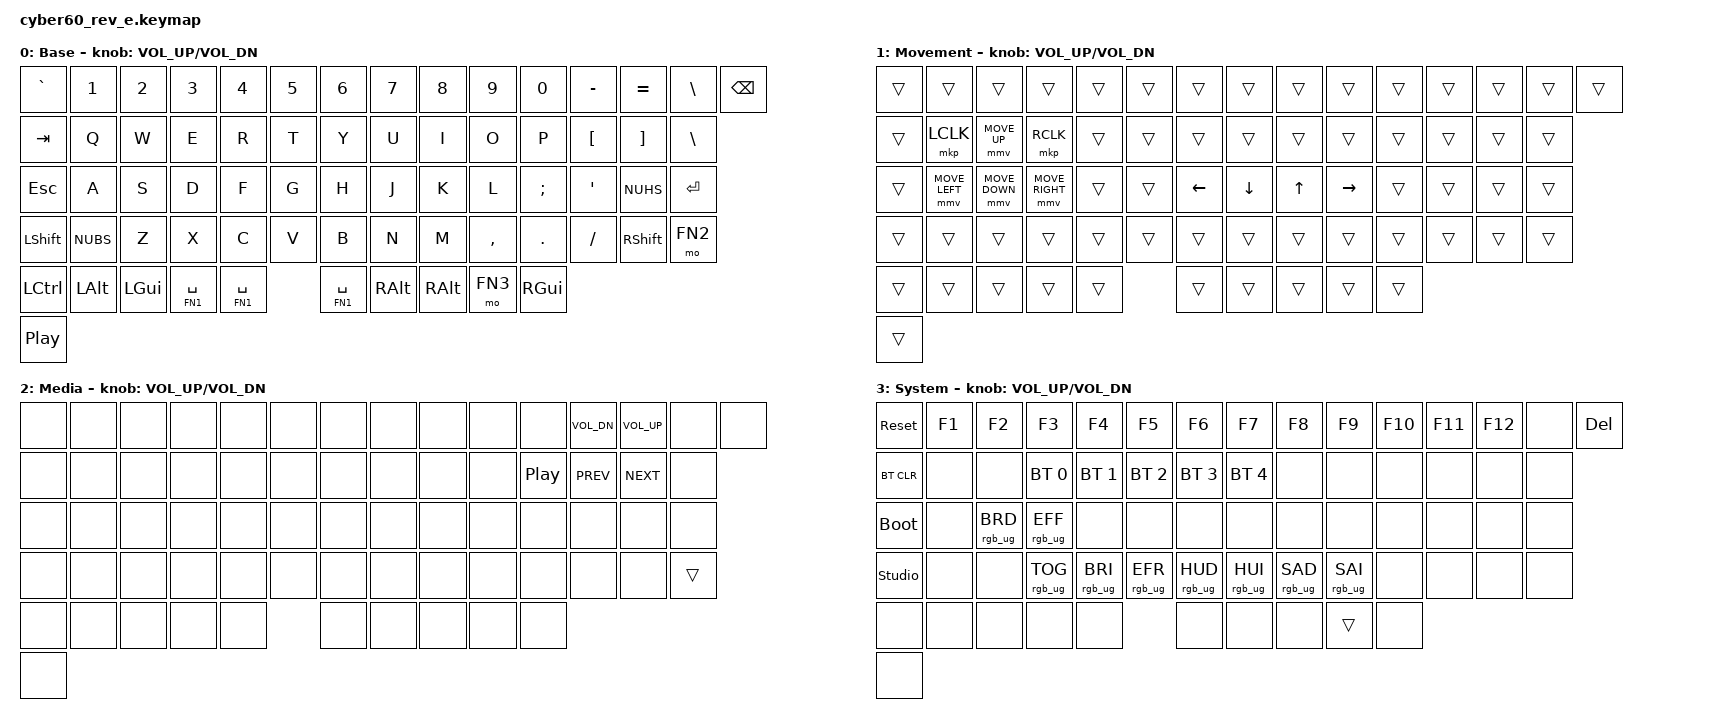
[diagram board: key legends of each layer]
#include <behaviors.dtsi>
#include <dt-bindings/zmk/bt.h>
#include <dt-bindings/zmk/keys.h>
#define ZMK_POINTING_DEFAULT_MOVE_VAL 3000 /* default: 600 (max cursor speed) */
#include <dt-bindings/zmk/pointing.h>
#include <dt-bindings/zmk/rgb.h>

#define FN1 1
#define FN2 2
#define FN3 3

&mmv {
    time-to-max-speed-ms = <500>; /* default: 300 */
    acceleration-exponent = <1>; /* default: 1 (0=uniform speed, 1=uniform acceleration, 2=linear acceleration) */
};

/ {
    keymap {
        compatible = "zmk,keymap";
        default_layer {
            // Base layer
            // ------------------------------------------------------------------------------------------
            // |  `  |  1  |  2  |  3  |  4  |  5  |  6  |  7  |  8  |  9  |  0  |  -  |  =  | "\" |BKSP|
            // |  TAB |  Q  |  W  |  E  |  R  |  T  |  Y  |  U  |  I  |  O  |  P  |  [  |  ]  |   "\"   |
            // |  ESC  |  A  |  S  |  D  |  F  |  G  |  H  |  J  |  K  |  L  |  ;  |  '  |NUHS| ENTER   |
            // | SHIFT |NUBS| Z |  X  |  C  |  V  |  B  |  N  |  M  |  ,  |  .  |  /  |    Shift   | FN2|
            // |  LCTL  |  LALT  |  LGUI  |LT1 SPC |LT1 SPC|  LT1 SPC   |  RALT | RALT  |   FN3   | RGUI |
            // | Rotary | (<-- Rotary switch) -----------------------------------------------------------
            display-name = "Base";
            bindings = <
            &kp GRAVE	&kp N1		&kp N2		&kp N3		&kp N4		&kp N5    &kp N6   &kp N7    &kp N8     &kp N9		&kp N0  	&kp MINUS	&kp EQUAL	&kp BSLH  &kp BSPC
            &kp TAB     &kp Q		&kp W		&kp E		&kp R		&kp T     &kp Y    &kp U     &kp I      &kp O		&kp P   	&kp LBKT	&kp RBKT	&kp BSLH
            &kp ESC		&kp A		&kp S		&kp D		&kp F		&kp G     &kp H    &kp J     &kp K      &kp L		&kp SEMI	&kp SQT		&kp NUHS	&kp RET
            &kp LSHFT	&kp NUBS	&kp Z		&kp X		&kp C		&kp V     &kp B    &kp N     &kp M  	&kp COMMA   &kp DOT   	&kp FSLH	&kp RSHFT   &mo FN2
            &kp LCTRL	&kp LALT	&kp LGUI	&lt FN1 SPACE	&lt FN1 SPACE	&lt FN1 SPACE  &kp RALT  &kp RALT  &mo FN3  &kp RGUI
            &kp C_PP
            >;

            sensor-bindings = <&inc_dec_kp C_VOL_UP C_VOL_DN>;
        };

        fn_layer_0 {
            display-name = "Movement";
            // Movement layer
            // ------------------------------------------------------------------------------------------
            // |TRNS|TRNS|TRNS|TRNS|TRNS|TRNS|TRNS|TRNS|TRNS|TRNS|TRNS|TRNS|TRNS|TRNS|TRNS|
            // |TRNS |LCLK | UP  |RCLK |TRNS|TRNS|TRNS|TRNS|TRNS|TRNS|TRNS|TRNS|TRNS| TRNS  |
            // | TRNS  | LEFT|DOWN |RIGHT|TRNS|TRNS| ←  | ↓  | ↑  |  → |TRNS|TRNS|TRNS| TRNS  |
            // | TRNS |TRNS|TRNS|TRNS|TRNS|TRNS|TRNS|TRNS|TRNS|TRNS|TRNS|TRNS|  TRNS    |TRNS|
            // | TRNS  | TRNS  | TRNS  |  TRNS  | TRNS |   TRNS    | TRNS | TRNS | TRNS | TRNS |
            // | Rotary | (<-- Rotary switch) -----------------------------------------------------------

            bindings = <
            &trans	&trans		&trans			&trans			&trans	&trans	&trans	&trans		&trans		&trans		&trans	&trans	&trans	&trans	&trans
            &trans	&mkp LCLK	&mmv MOVE_UP	&mkp RCLK		&trans	&trans	&trans	&trans		&trans		&trans		&trans	&trans	&trans	&trans
            &trans	&mmv MOVE_LEFT	&mmv MOVE_DOWN	&mmv MOVE_RIGHT	&trans	&trans	&kp LEFT &kp DOWN	&kp UP		&kp RIGHT	&trans	&trans	&trans	&trans
            &trans	&trans		&trans			&trans			&trans	&trans	&trans	&trans		&trans		&trans		&trans	&trans	&trans	&trans
            &trans	&trans		&trans			&trans			&trans	&trans	&trans	&trans		&trans		&trans
            &trans
            >;

            sensor-bindings = <&inc_dec_kp C_VOL_UP C_VOL_DN>;
        };

        fn_layer_1 {
            display-name = "Media";
            // Media layer
            // ------------------------------------------------------------------------------------------
            // |NONE|NONE|NONE|NONE|NONE|NONE|NONE|NONE|NONE|NONE|NONE|VOLD|VOLU|NONE|NONE|
            // |NONE |NONE|NONE|NONE|NONE|NONE|NONE|NONE|NONE|NONE| PP |PREV|NEXT| NONE  |
            // | NONE  |NONE|NONE|NONE|NONE|NONE|NONE|NONE|NONE|NONE|NONE|NONE|NONE| NONE  |
            // | NONE |NONE|NONE|NONE|NONE|NONE|NONE|NONE|NONE|NONE|NONE|NONE|  NONE    |TRNS|
            // | NONE  | NONE  | NONE  |  NONE  | NONE |   NONE    | NONE | NONE | NONE | NONE |
            // | Rotary | (<-- Rotary switch) -----------------------------------------------------------

            bindings = <
            &none	&none	&none	&none	&none	&none	&none	&none	&none	&none	&none	&kp C_VOL_DN	&kp C_VOL_UP	&none	&none
            &none	&none	&none	&none	&none	&none	&none	&none	&none	&none	&kp C_PP	&kp C_PREV	&kp C_NEXT	&none
            &none	&none	&none	&none	&none	&none	&none	&none	&none	&none	&none	&none	&none	&none
            &none	&none	&none	&none	&none	&none	&none	&none	&none	&none	&none	&none	&none	&trans
            &none	&none	&none	&none	&none	&none	&none	&none	&none	&none
            &none
            >;

            sensor-bindings = <&inc_dec_kp C_VOL_UP C_VOL_DN>;
        };

        fn_layer_2 {
            display-name = "System";
            // System/BT/RGB layer
            // ------------------------------------------------------------------------------------------
            // |RESET| F1 | F2 | F3 | F4 | F5 | F6 | F7 | F8 | F9 | F10| F11| F12|NONE| DEL|
            // |BT_CLR|NONE|NONE| BT0| BT1| BT2| BT3| BT4|NONE|NONE|NONE|NONE|NONE| NONE  |
            // | BOOTL |NONE|RGBD|RGBE|NONE|NONE|NONE|NONE|NONE|NONE|NONE|NONE|NONE| NONE  |
            // |S_UNLK|NONE|NONE|RGBT|RGBB|RGBE|RGBH|RGBH|RGBS|RGBS|NONE|NONE|  NONE    |NONE|
            // | NONE  | NONE  | NONE  |  NONE  | NONE |   NONE    | NONE | NONE | TRNS | NONE |
            // | Rotary | (<-- Rotary switch) -----------------------------------------------------------

            bindings = <
            &sys_reset	&kp F1		&kp F2		&kp F3		&kp F4		&kp F5		&kp F6		&kp F7		&kp F8		&kp F9	&kp F10	&kp F11	&kp F12	&none	&kp DEL
            &bt BT_CLR	&none		&none		&bt BT_SEL 0	&bt BT_SEL 1	&bt BT_SEL 2	&bt BT_SEL 3	&bt BT_SEL 4	&none		&none	&none	&none	&none	&none
            &bootloader	&none		&rgb_ug RGB_BRD	&rgb_ug RGB_EFF	&none		&none		&none		&none		&none		&none	&none	&none	&none	&none
            &studio_unlock	&none	&none		&rgb_ug RGB_TOG	&rgb_ug RGB_BRI	&rgb_ug RGB_EFR	&rgb_ug RGB_HUD	&rgb_ug RGB_HUI	&rgb_ug RGB_SAD	&rgb_ug RGB_SAI	&none	&none	&none	&none
            &none		&none		&none		&none		&none		&none		&none		&none		&trans		&none
            &none
            >;

            sensor-bindings = <&inc_dec_kp C_VOL_UP C_VOL_DN>;
        };
    };
};
